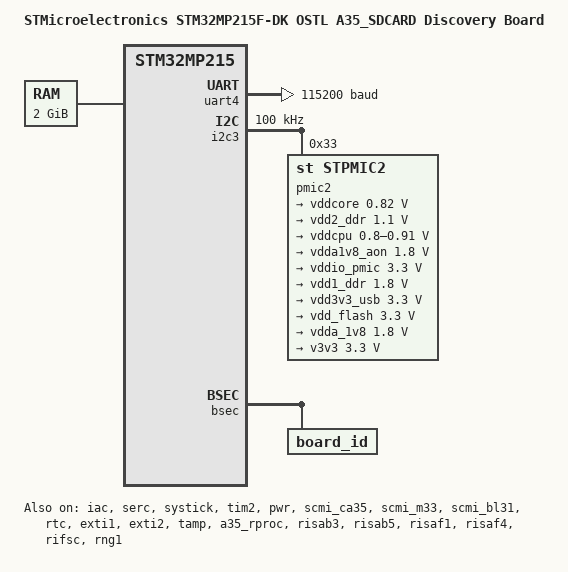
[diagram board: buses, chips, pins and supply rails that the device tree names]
// SPDX-License-Identifier: (GPL-2.0-only OR BSD-3-Clause)
/*
 * Copyright (C) STMicroelectronics 2023 - All Rights Reserved
 */

/dts-v1/;

#include <dt-bindings/clock/stm32mp21-clksrc.h>
#include <dt-bindings/ipcc/stm32mp25-ipcc.h>
#include <dt-bindings/power/stm32mp25-power.h>
#include <dt-bindings/reset/st,stm32mp21-rcc.h>
#include <dt-bindings/regulator/stm32mp21-regulator.h>
#include <dt-bindings/rif/stm32mp25-rif.h>
#include <dt-bindings/rif/stm32mp21-rifsc.h>
#include <dt-bindings/rif/stm32mp2-risaf.h>
#include <dt-bindings/rif/stm32mp25-risab.h>

#include "stm32mp215.dtsi"
#include "stm32mp215f-dk-cm33tdcid-ostl-resmem.dtsi"
#include "stm32mp215f-dk-cm33tdcid-ostl-rcc.dtsi"
#include "stm32mp215f-dk-cm33tdcid-ostl-scmi.dtsi"
#include "stm32mp215f-dk-cm33tdcid-ostl-s-rif.dtsi"
#include "stm32mp215f-dk-cm33tdcid-ostl-s-rif-ca35-sdcard.dtsi"
#include "stm32mp21-pinctrl.dtsi"
#include "stm32mp21xxan-pinctrl.dtsi"

/ {
	model = "STMicroelectronics STM32MP215F-DK OSTL A35_SDCARD Discovery Board";
	compatible = "st,stm32mp215f-dk-cm33tdcid-ostl-sdcard", "st,stm32mp215f-dk", "st,stm32mp215";
	aliases {
		serial0 = &uart4;
	};

	chosen {
		stdout-device = &uart4;
		tfm,entropy = &rng1;
	};

	memory@80000000 {
		device_type = "memory";
		reg = <0x80000000 0x80000000>;
	};
};

&iac {
	status = "okay";
};

&serc {
	status = "okay";
};

&uart4 {
	pinctrl-names = "default";
	pinctrl-0 = <&uart4_pins_a>;
	clocks = <&rcc CK_KER_UART4>;
	current-speed = <115200>;
	status = "okay";
};

&systick {
	clocks = <&rcc CK_ICN_HS_MCU>;
	clock-frequency = <1000000>; /* tick at 1us */
	status = "okay";
};

&tim2 {
	status = "okay";
};

&i2c3 {
	pinctrl-names = "default";
	pinctrl-0 = <&i2c3_pins_a>;
	i2c-scl-rising-time-ns = <185>;
	i2c-scl-falling-time-ns = <20>;
	clock-frequency = <100000>;
	status = "okay";

	#address-cells = <1>;
	#size-cells = <0>;

	pmic2: pmic@33 {
		// compatible = "st,stpmic2l";
		compatible = "st,stpmic2";


		reg = <0x33>;
		status = "okay";

		regulators {
			compatible = "st,stpmic2-regulators";

			vddcore: buck1 {
				regulator-name = "vddcore";
				regulator-min-microvolt = <820000>;
				regulator-max-microvolt = <820000>;
				regulator-always-on;
			};
			vdd2_ddr: buck2 {
				regulator-name = "vdd2_ddr";
				regulator-min-microvolt = <1100000>;
				regulator-max-microvolt = <1100000>;
			};
			vddcpu: buck3 {
				regulator-name = "vddcpu";
				regulator-min-microvolt = <800000>;
				regulator-max-microvolt = <910000>;
				regulator-always-on;
			};
			vdda1v8_aon: ldo1 {
				regulator-name = "vdda1v8_aon";
				regulator-min-microvolt = <1800000>;
				regulator-max-microvolt = <1800000>;
				regulator-always-on;
				//st,mask-reset;
			};
			vddio_pmic: ldo2 {
				regulator-name = "vddio_pmic";
				regulator-min-microvolt = <3300000>;
				regulator-max-microvolt = <3300000>;
				regulator-always-on;
				//st,mask-reset;
			};
			vdd1_ddr: ldo3 {
				regulator-name = "vdd1_ddr";
				regulator-min-microvolt = <1800000>;
				regulator-max-microvolt = <1800000>;
				regulator-enable-ramp-delay = <1000>;
			};
			vdd3v3_usb: ldo4 {
				regulator-name = "vdd3v3_usb";
				regulator-min-microvolt = <3300000>;
				regulator-max-microvolt = <3300000>;
			};
			vdd_flash: ldo5 {
				regulator-name = "vdd_flash";
				regulator-min-microvolt = <3300000>;
				regulator-max-microvolt = <3300000>;
			};
			vdda_1v8: ldo6 {
				regulator-name = "vdda_1v8";
				regulator-min-microvolt = <1800000>;
				regulator-max-microvolt = <1800000>;
				regulator-always-on;
			};
			v3v3: gpo1 {
				regulator-name = "v3v3";
				regulator-min-microvolt = <3300000>;
				regulator-max-microvolt = <3300000>;
				regulator-always-on;
			};
		};
	};
};

&ipcc1 {
	status = "okay";
};

&bsec {
	memory-region = <&bsec_mirror>;
	status = "okay";

	board_id: board_id@3d8 {
		#nvmem-cell-cells = <0>;
		reg = <0x3d8 0x4>;
	};
};

&pwr {
	status = "okay";

	vdda18adc {
		status = "okay";
		regulator-min-microvolt = <1800000>;
		regulator-max-microvolt = <1800000>;
		vin-supply = <&vdda_1v8>;
	};

	vddio1 {
		status = "okay";
		vin-supply = <&vddio_pmic>;
	};

	vddio2 {
		status = "okay";
		vin-supply = <&vdda_1v8>;
	};

	vddio3 {
		status = "okay";
		vin-supply = <&vddio_pmic>;
	};

	vddio {
		status = "okay";
		vin-supply = <&vddio_pmic>;
	};
};

&scmi_ca35 {
	status = "okay";
	memory-region = <&scmi_cid1_ns>;
	mboxes = <&ipcc1 IPCC_CHANNEL(16)>;
	regu-list = <&scmi_vddcore>, <&scmi_vdd3v3_usb>, <&scmi_vdd_flash> , <&scmi_vdda_1v8>,
		     <&scmi_v3v3>, <&scmi_vddio1>, <&scmi_vddio2>, <&scmi_vddio3>, <&scmi_vdda18adc>;
	regu-id-max = <STMP21_VOLTD_SCMI_MAX>;

	rst-list = <&scmi_rst_fmc>;
	rst-id-max = <STM32MP21_RST_SCMI_MAX>;
	clk-list = <&scmi_clk_icn_sdmmc>, <&scmi_clk_icn_ddr>,
         <&scmi_clk_icn_display>, <&scmi_clk_icn_hsl>,
         <&scmi_clk_icn_nic>,
         <&scmi_clk_flexgen_07>, <&scmi_clk_flexgen_08>,
	 <&scmi_clk_flexgen_09>, <&scmi_clk_flexgen_10>,
         <&scmi_clk_flexgen_11>, <&scmi_clk_flexgen_12>,
         <&scmi_clk_flexgen_13>, <&scmi_clk_flexgen_14>,
         <&scmi_clk_flexgen_15>, <&scmi_clk_flexgen_16>,
         <&scmi_clk_flexgen_17>, <&scmi_clk_flexgen_18>,
         <&scmi_clk_flexgen_19>, <&scmi_clk_flexgen_20>,
         <&scmi_clk_flexgen_21>, <&scmi_clk_flexgen_22>,
         <&scmi_clk_flexgen_23>, <&scmi_clk_flexgen_24>,
         <&scmi_clk_flexgen_25>, <&scmi_clk_flexgen_26>,
         <&scmi_clk_flexgen_27>, <&scmi_clk_flexgen_28>,
         <&scmi_clk_flexgen_29>, <&scmi_clk_flexgen_30>,
         <&scmi_clk_flexgen_31>, <&scmi_clk_flexgen_32>,
         <&scmi_clk_flexgen_33>, <&scmi_clk_flexgen_34>,
         <&scmi_clk_flexgen_35>, <&scmi_clk_flexgen_36>,
         <&scmi_clk_flexgen_37>, <&scmi_clk_flexgen_38>,
         <&scmi_clk_flexgen_39>, <&scmi_clk_flexgen_40>,
         <&scmi_clk_flexgen_41>, <&scmi_clk_flexgen_42>,
         <&scmi_clk_flexgen_43>, <&scmi_clk_flexgen_44>,
         <&scmi_clk_flexgen_45>, <&scmi_clk_flexgen_46>,
         <&scmi_clk_flexgen_47>, <&scmi_clk_flexgen_48>,
         <&scmi_clk_flexgen_49>, <&scmi_clk_flexgen_50>,
         <&scmi_clk_flexgen_51>, <&scmi_clk_flexgen_52>,
         <&scmi_clk_flexgen_53>, <&scmi_clk_flexgen_54>,
         <&scmi_clk_flexgen_55>, <&scmi_clk_flexgen_56>,
         <&scmi_clk_flexgen_57>, <&scmi_clk_flexgen_58>,
         <&scmi_clk_flexgen_59>, <&scmi_clk_flexgen_60>,
         <&scmi_clk_flexgen_61>, <&scmi_clk_flexgen_62>,
         <&scmi_clk_flexgen_63>,

         <&scmi_clk_gpioa>, <&scmi_clk_gpiob>,
         <&scmi_clk_gpioc>, <&scmi_clk_gpiod>,
         <&scmi_clk_gpioe>, <&scmi_clk_gpiof>,
         <&scmi_clk_gpiog>, <&scmi_clk_gpioh>,
         <&scmi_clk_gpioi>,
         <&scmi_clk_gpioz>,

         <&scmi_clk_icn_ls_mcu>, <&scmi_clk_hse>,
         <&scmi_clk_lse>, <&scmi_clk_hsi>, <&scmi_clk_lsi>,
         <&scmi_clk_msi>, <&scmi_clk_rtcck>,
         <&scmi_clk_icn_apb1>, <&scmi_clk_icn_apb2>,
         <&scmi_clk_icn_apb3>, <&scmi_clk_icn_apb4>,  <&scmi_clk_icn_apb5>,
         <&scmi_clk_icn_apbdbg>, <&scmi_clk_timg1>,
         <&scmi_clk_timg2>, <&scmi_clk_bkpsram>,
         <&scmi_clk_bsec>, <&scmi_clk_bus_etr>,
         <&scmi_clk_fmc>, <&scmi_clk_hpdma1>,
         <&scmi_clk_hpdma2>, <&scmi_clk_hpdma3>,
         <&scmi_clk_ipcc1>,
         <&scmi_clk_retram>,
         <&scmi_clk_rtc>, <&scmi_clk_sram1>,
         <&scmi_clk_syscpu1>,
         <&scmi_clk_cpu1>, <&scmi_clk_hse_div2>,
         <&scmi_clk_pll2>,
         <&scmi_clk_sysram>, <&scmi_clk_ospi1>,
         <&scmi_clk_tpiu>,
         <&scmi_clk_sysdbg>, <&scmi_clk_sysatb>,
         <&scmi_clk_tsdbg>, <&scmi_clk_etr>,
         <&scmi_clk_bus_stm>, <&scmi_clk_hsi_ker_ck>,
         <&scmi_clk_hse_ker_ck>, <&scmi_clk_msi_ker_ck>;

	clk-id-max = <STM32MP21_CK_SCMI_MAX>;

	// pd-list = <&scmi_pd_gpu>;
	// pd-id-max = <STM32MP25_PD_SCMI_MAX>;
};

&scmi_m33 {
	status = "okay";
	regu-list = <&scmi_vddcore>, <&scmi_vdd3v3_usb>, <&scmi_vdd_flash> , <&scmi_vdda_1v8>,
		     <&scmi_v3v3>;
	regu-id-max = <STMP21_VOLTD_SCMI_MAX>;

	rst-list = <&scmi_rst_fmc>;
	rst-id-max = <STM32MP21_RST_SCMI_MAX>;
	clk-list = <&scmi_clk_icn_display>, <&scmi_clk_gpiob>, <&scmi_clk_flexgen_27>,
		      <&scmi_clk_flexgen_07>, <&scmi_clk_flexgen_08>,
		      <&scmi_clk_flexgen_09>, <&scmi_clk_flexgen_10>;
	clk-id-max = <STM32MP21_CK_SCMI_MAX>;
};

&scmi_bl31 {
	status = "okay";
	memory-region = <&scmi_cid1_s>;
	mboxes = <&ipcc1 IPCC_CHANNEL(15)>;
	regu-list = <&scmi_vddcpu>;
	regu-id-max = <(VOLTD_SCMI_STPMIC_BUCK3+1)>;
};

&psa_mbox {
	status = "okay";
	mboxes = <&ipcc1 IPCC_CHANNEL(14)>;
	memory-region = <&psa_buffer_cid1_s>;
};

&rtc {
	status = "okay";
};

&hpdma1 {
	status = "okay";
};

&hpdma2 {
	status = "okay";
};

&hpdma3 {
	status = "okay";
};

&exti1 {
	status = "okay";
};

&exti2 {
	status = "okay";
};

&tamp {
	status = "okay";
};

&hconf1_otp {
	shadow-provisionning = <0x00018db6>;
};

&a35_rproc {
	status = "okay";
};

&cpu0 {
	enable-method = "remoteproc";
	remoteprocs = <&a35_rproc>;
};

&risab3 {
	status = "okay";
};

&risab5 {
	status = "okay";
};

&risaf1 {
	status = "okay";
};

&risaf4 {
	status = "okay";
};

&rifsc {
	status = "okay";
};

&rng1 {
	status = "okay";
};
